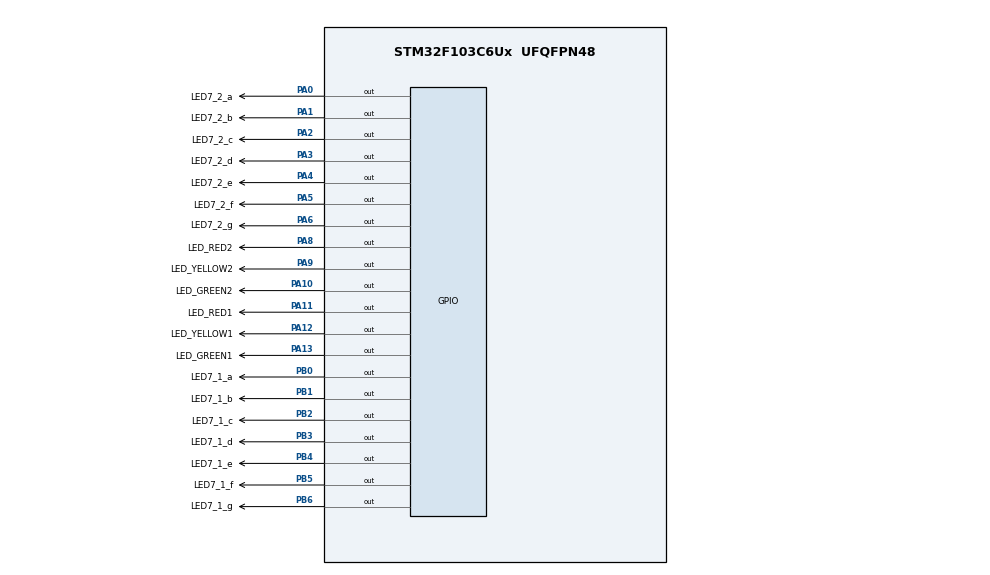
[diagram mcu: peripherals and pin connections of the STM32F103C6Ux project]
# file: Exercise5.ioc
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Mcu.Family=STM32F1
Mcu.Name=STM32F103C6Ux
Mcu.Package=UFQFPN48
NVIC.PriorityGroup=NVIC_PRIORITYGROUP_4
PA0-WKUP.GPIO_Label=LED7_2_a
PA0-WKUP.Signal=GPIO_Output
PA1.GPIO_Label=LED7_2_b
PA1.Signal=GPIO_Output
PA10.GPIO_Label=LED_GREEN2
PA10.Signal=GPIO_Output
PA11.GPIO_Label=LED_RED1
PA11.Signal=GPIO_Output
PA12.GPIO_Label=LED_YELLOW1
PA12.Signal=GPIO_Output
PA13.GPIO_Label=LED_GREEN1
PA13.Signal=GPIO_Output
PA2.GPIO_Label=LED7_2_c
PA2.Signal=GPIO_Output
PA3.GPIO_Label=LED7_2_d
PA3.Signal=GPIO_Output
PA4.GPIO_Label=LED7_2_e
PA4.Signal=GPIO_Output
PA5.GPIO_Label=LED7_2_f
PA5.Signal=GPIO_Output
PA6.GPIO_Label=LED7_2_g
PA6.Signal=GPIO_Output
PA8.GPIO_Label=LED_RED2
PA8.Signal=GPIO_Output
PA9.GPIO_Label=LED_YELLOW2
PA9.Signal=GPIO_Output
PB0.GPIO_Label=LED7_1_a
PB0.Signal=GPIO_Output
PB0.Stacked=true
PB1.GPIO_Label=LED7_1_b
PB1.Signal=GPIO_Output
PB2.GPIO_Label=LED7_1_c
PB2.Signal=GPIO_Output
PB3.GPIO_Label=LED7_1_d
PB3.Signal=GPIO_Output
PB4.GPIO_Label=LED7_1_e
PB4.Signal=GPIO_Output
PB5.GPIO_Label=LED7_1_f
PB5.Signal=GPIO_Output
PB6.GPIO_Label=LED7_1_g
PB6.Signal=GPIO_Output
ProjectManager.HeapSize=0x200
ProjectManager.StackSize=0x400
ProjectManager.TargetToolchain=STM32CubeIDE
RCC.APB1Freq_Value=8000000
RCC.APB2Freq_Value=8000000
VP_SYS_VS_ND.Mode=No_Debug
board=custom

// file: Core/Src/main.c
/* USER CODE BEGIN Header */
/**
  ******************************************************************************
  * @file           : main.c
  * @brief          : Main program body
  ******************************************************************************
  * @attention
  *
  * <h2><center>&copy; Copyright (c) 2022 STMicroelectronics.
  * All rights reserved.</center></h2>
  *
  * This software component is licensed by ST under BSD 3-Clause license,
  * the "License"; You may not use this file except in compliance with the
  * License. You may obtain a copy of the License at:
  *                        opensource.org/licenses/BSD-3-Clause
  *
  ******************************************************************************
  */
/* USER CODE END Header */
#include "main.h"

void SystemClock_Config(void);
static void MX_GPIO_Init(void);

void display7SEG(int num, GPIO_TypeDef* GPIOx, uint16_t start_index){
	__IO uint16_t temp;
	switch(num){
	case 0:
		temp = 0b1000000;
		break;
	case 1:
		temp = 0b1111001;
		break;
	case 2:
		temp = 0b0100100;
		break;
	case 3:
		temp = 0b0110000;
		break;
	case 4:
		temp = 0b0011001;
		break;
	case 5:
		temp = 0b0010010;
		break;
	case 6:
		temp = 0b0000010;
		break;
	case 7:
		temp = 0b1111000;
		break;
	case 8:
		temp = 0b0;
		break;
	case 9:
		temp = 0b0010000;
		break;
	default:
		temp = !0b0;
		break;
	}
	uint16_t bitmask = 0b1111111 << start_index ;
	GPIOx->ODR = (GPIOx->ODR & ~bitmask) | (temp << start_index);
}
int main(void)
{

  /* MCU Configuration--------------------------------------------------------*/

  /* Reset of all peripherals, Initializes the Flash interface and the Systick. */
  HAL_Init();

  /* Configure the system clock */
  SystemClock_Config();

  /* Initialize all configured peripherals */
  MX_GPIO_Init();

  /* Infinite loop */
  /* USER CODE BEGIN WHILE */

  int counter1 = 5;
  int counter2 = 3;
  int state = 0;
  HAL_GPIO_TogglePin(LED_RED1_GPIO_Port,LED_RED1_Pin);
  HAL_GPIO_TogglePin(LED_GREEN2_GPIO_Port,LED_GREEN2_Pin);
  while (1)
  {
	switch(state){
	case 3:
		HAL_GPIO_TogglePin(LED_GREEN2_GPIO_Port,LED_GREEN2_Pin);
	    HAL_GPIO_TogglePin(LED_YELLOW2_GPIO_Port,LED_YELLOW2_Pin);

	    counter1 = 2;
	    counter2 = 2;
	    state = 4;
	    break;
	case 5:

	    HAL_GPIO_TogglePin(LED_YELLOW2_GPIO_Port,LED_YELLOW2_Pin);
	    HAL_GPIO_TogglePin(LED_RED2_GPIO_Port,LED_RED2_Pin);

	    HAL_GPIO_TogglePin(LED_RED1_GPIO_Port,LED_RED1_Pin);
	    HAL_GPIO_TogglePin(LED_GREEN1_GPIO_Port,LED_GREEN1_Pin);

	    counter1 = 3;
	    counter2 = 5;

	    state = 6;
	    break;
	case 8:
	    HAL_GPIO_TogglePin(LED_GREEN1_GPIO_Port,LED_GREEN1_Pin);
	    HAL_GPIO_TogglePin(LED_YELLOW1_GPIO_Port,LED_YELLOW1_Pin);

	    counter1 = 2;
	    counter2 = 2;
	    state = 9;
	    break;
	case 10:
	    HAL_GPIO_TogglePin(LED_YELLOW1_GPIO_Port,LED_YELLOW1_Pin);
	    HAL_GPIO_TogglePin(LED_RED1_GPIO_Port,LED_RED1_Pin);

	    HAL_GPIO_TogglePin(LED_RED2_GPIO_Port,LED_RED2_Pin);
	    HAL_GPIO_TogglePin(LED_GREEN2_GPIO_Port,LED_GREEN2_Pin);

	    counter1 = 5;
	    counter2 = 3;
	    state = 1;
	    break;
	default:
	    state++;
	    break;
	}
	display7SEG(counter1--,GPIOB,0);
	display7SEG(counter2--,GPIOA,0);
	HAL_Delay(1000) ;
    /* USER CODE END WHILE */

  }
}

void SystemClock_Config(void)
{
  RCC_OscInitTypeDef RCC_OscInitStruct = {0};
  RCC_ClkInitTypeDef RCC_ClkInitStruct = {0};

  /** Initializes the RCC Oscillators according to the specified parameters
  * in the RCC_OscInitTypeDef structure.
  */
  RCC_OscInitStruct.OscillatorType = RCC_OSCILLATORTYPE_HSI;
  RCC_OscInitStruct.HSIState = RCC_HSI_ON;
  RCC_OscInitStruct.HSICalibrationValue = RCC_HSICALIBRATION_DEFAULT;
  RCC_OscInitStruct.PLL.PLLState = RCC_PLL_NONE;
  if (HAL_RCC_OscConfig(&RCC_OscInitStruct) != HAL_OK)
  {
    Error_Handler();
  }
  /** Initializes the CPU, AHB and APB buses clocks
  */
  RCC_ClkInitStruct.ClockType = RCC_CLOCKTYPE_HCLK|RCC_CLOCKTYPE_SYSCLK
                              |RCC_CLOCKTYPE_PCLK1|RCC_CLOCKTYPE_PCLK2;
  RCC_ClkInitStruct.SYSCLKSource = RCC_SYSCLKSOURCE_HSI;
  RCC_ClkInitStruct.AHBCLKDivider = RCC_SYSCLK_DIV1;
  RCC_ClkInitStruct.APB1CLKDivider = RCC_HCLK_DIV1;
  RCC_ClkInitStruct.APB2CLKDivider = RCC_HCLK_DIV1;

  if (HAL_RCC_ClockConfig(&RCC_ClkInitStruct, FLASH_LATENCY_0) != HAL_OK)
  {
    Error_Handler();
  }
}

static void MX_GPIO_Init(void)
{
  GPIO_InitTypeDef GPIO_InitStruct = {0};

  /* GPIO Ports Clock Enable */
  __HAL_RCC_GPIOA_CLK_ENABLE();
  __HAL_RCC_GPIOB_CLK_ENABLE();

  /*Configure GPIO pin Output Level */
  HAL_GPIO_WritePin(GPIOA, LED7_2_a_Pin|LED7_2_b_Pin|LED7_2_c_Pin|LED7_2_d_Pin
                          |LED7_2_e_Pin|LED7_2_f_Pin|LED7_2_g_Pin|LED_RED2_Pin
                          |LED_YELLOW2_Pin|LED_GREEN2_Pin|LED_RED1_Pin|LED_YELLOW1_Pin
                          |LED_GREEN1_Pin, GPIO_PIN_RESET);

  /*Configure GPIO pin Output Level */
  HAL_GPIO_WritePin(GPIOB, LED7_1_a_Pin|LED7_1_b_Pin|LED7_1_c_Pin|LED7_1_d_Pin
                          |LED7_1_e_Pin|LED7_1_f_Pin|LED7_1_g_Pin, GPIO_PIN_RESET);

  /*Configure GPIO pins : LED7_2_a_Pin LED7_2_b_Pin LED7_2_c_Pin LED7_2_d_Pin
                           LED7_2_e_Pin LED7_2_f_Pin LED7_2_g_Pin LED_RED2_Pin
                           LED_YELLOW2_Pin LED_GREEN2_Pin LED_RED1_Pin LED_YELLOW1_Pin
                           LED_GREEN1_Pin */
  GPIO_InitStruct.Pin = LED7_2_a_Pin|LED7_2_b_Pin|LED7_2_c_Pin|LED7_2_d_Pin
                          |LED7_2_e_Pin|LED7_2_f_Pin|LED7_2_g_Pin|LED_RED2_Pin
                          |LED_YELLOW2_Pin|LED_GREEN2_Pin|LED_RED1_Pin|LED_YELLOW1_Pin
                          |LED_GREEN1_Pin;
  GPIO_InitStruct.Mode = GPIO_MODE_OUTPUT_PP;
  GPIO_InitStruct.Pull = GPIO_NOPULL;
  GPIO_InitStruct.Speed = GPIO_SPEED_FREQ_LOW;
  HAL_GPIO_Init(GPIOA, &GPIO_InitStruct);

  /*Configure GPIO pins : LED7_1_a_Pin LED7_1_b_Pin LED7_1_c_Pin LED7_1_d_Pin
                           LED7_1_e_Pin LED7_1_f_Pin LED7_1_g_Pin */
  GPIO_InitStruct.Pin = LED7_1_a_Pin|LED7_1_b_Pin|LED7_1_c_Pin|LED7_1_d_Pin
                          |LED7_1_e_Pin|LED7_1_f_Pin|LED7_1_g_Pin;
  GPIO_InitStruct.Mode = GPIO_MODE_OUTPUT_PP;
  GPIO_InitStruct.Pull = GPIO_NOPULL;
  GPIO_InitStruct.Speed = GPIO_SPEED_FREQ_LOW;
  HAL_GPIO_Init(GPIOB, &GPIO_InitStruct);

}

void Error_Handler(void)
{
  __disable_irq();
  while (1)
  {
  }
}

/************************ (C) COPYRIGHT STMicroelectronics *****END OF FILE****/
